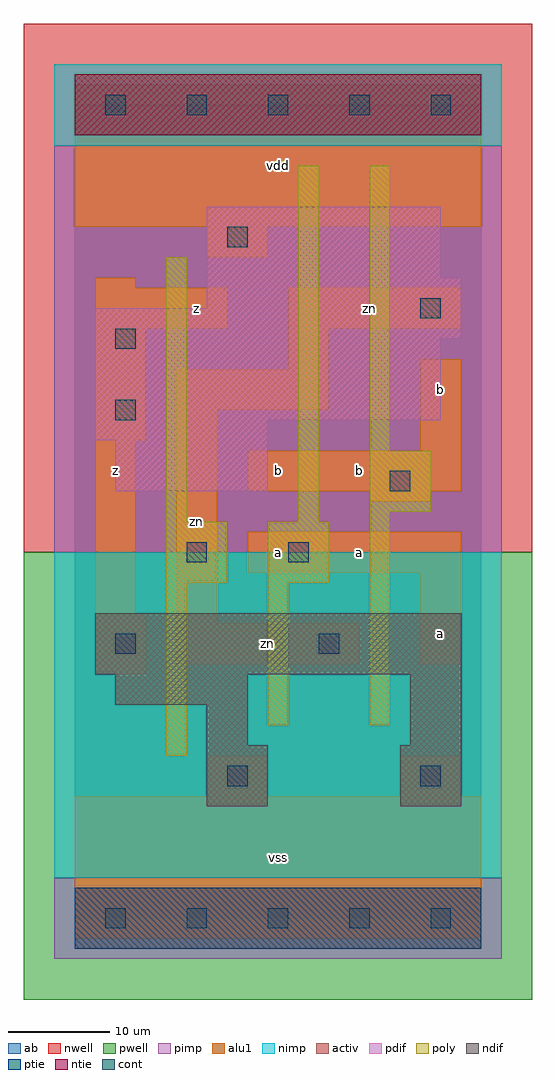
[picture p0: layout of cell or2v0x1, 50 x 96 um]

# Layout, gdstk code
import gdstk
lib = gdstk.Library(unit=1e-6, precision=1e-09)
def R(c, l, rs):  # rectangles x0, y0, x1, y1
    for r in rs: c.add(gdstk.rectangle(r[:2], r[2:], *l))
def A(c, l, x, y, w, h, nx, ny, dx, dy):  # array of equal rectangles
    R(c, l, [(x+i*dx, y+j*dy, x+i*dx+w, y+j*dy+h) for i in range(nx) for j in range(ny)])
ndif = (3, 0)
pdif = (4, 0)
ntie = (5, 0)
ptie = (6, 0)
cont = (25, 0)
pwell = (41, 0)
nwell = (42, 0)
activ = (43, 0)
pimp = (44, 0)
nimp = (45, 0)
poly = (46, 0)
alu1 = (49, 0)
ab = (63, 0)

or2v0x1 = lib.new_cell('or2v0x1')
R(or2v0x1, ndif, [(13,11,19,17), (32,11,38,17), (13,17,17,21), (33,17,38,24), (4,21,17,24), (2,24,38,30)])
R(or2v0x1, pdif, [(4,42,19,47), (2,47,19,49), (2,49,36,57), (2,57,38,60), (13,60,38,63), (13,63,36,70)])
R(or2v0x1, ntie, [(0,77,40,83)])
R(or2v0x1, ptie, [(0,-3,40,3)])
A(or2v0x1, cont, 3, -1, 2, 2, 5, 2, 8, 80)
R(or2v0x1, cont, [(15,13,17,15), (34,13,36,15), (4,26,6,28), (24,26,26,28), (11,35,13,37), (21,35,23,37), (31,42,33,44), (4,49,6,51), (4,56,6,58), (34,59,36,61), (15,66,17,68)])
R(or2v0x1, pwell, [(-5,-8,45,36)])
R(or2v0x1, nwell, [(-5,36,45,88)])
R(or2v0x1, activ, [(0,-3,40,3), (13,11,19,17), (32,11,38,17), (13,17,17,21), (33,17,38,24), (4,21,17,24), (2,24,38,30), (4,42,19,47), (2,47,19,49), (2,49,36,57), (2,57,38,60), (13,60,38,63), (13,63,36,70), (0,77,40,83)])
R(or2v0x1, pimp, [(-2,-4,42,4), (-2,36,42,76)])
R(or2v0x1, nimp, [(-2,4,42,36), (-2,76,42,84)])
R(or2v0x1, poly, [(9,16,11,33), (19,19,21,33), (29,19,31,40), (9,33,15,39), (19,33,25,39), (9,39,11,65), (22,39,24,74), (29,40,35,46), (29,46,31,74)])
R(or2v0x1, alu1, [(0,-2,40,12), (13,12,19,16), (32,12,38,16), (2,24,7,30), (10,25,28,29), (34,25,38,34), (10,29,14,50), (2,30,6,47), (17,34,38,38), (29,41,35,42), (17,42,38,46), (34,46,38,55), (2,47,7,58), (10,50,25,54), (21,54,25,58), (2,58,15,62), (21,58,38,62), (2,62,6,63), (13,65,19,68), (0,68,40,82)])
R(or2v0x1, ab, [(0,0,40,80)])
or2v0x1.add(gdstk.Label('zn', (12,39), layer=49, texttype=0))
or2v0x1.add(gdstk.Label('zn', (19,27), layer=49, texttype=0))
or2v0x1.add(gdstk.Label('zn', (29,60), layer=49, texttype=0))
or2v0x1.add(gdstk.Label('z', (4,44), layer=49, texttype=0))
or2v0x1.add(gdstk.Label('z', (12,60), layer=49, texttype=0))
or2v0x1.add(gdstk.Label('vss', (20,6), layer=49, texttype=0))
or2v0x1.add(gdstk.Label('a', (20,36), layer=49, texttype=0))
or2v0x1.add(gdstk.Label('a', (28,36), layer=49, texttype=0))
or2v0x1.add(gdstk.Label('b', (28,44), layer=49, texttype=0))
or2v0x1.add(gdstk.Label('b', (20,44), layer=49, texttype=0))
or2v0x1.add(gdstk.Label('vdd', (20,74), layer=49, texttype=0))
or2v0x1.add(gdstk.Label('a', (36,28), layer=49, texttype=0))
or2v0x1.add(gdstk.Label('b', (36,52), layer=49, texttype=0))

lib.write_gds('or2v0x1.gds')
